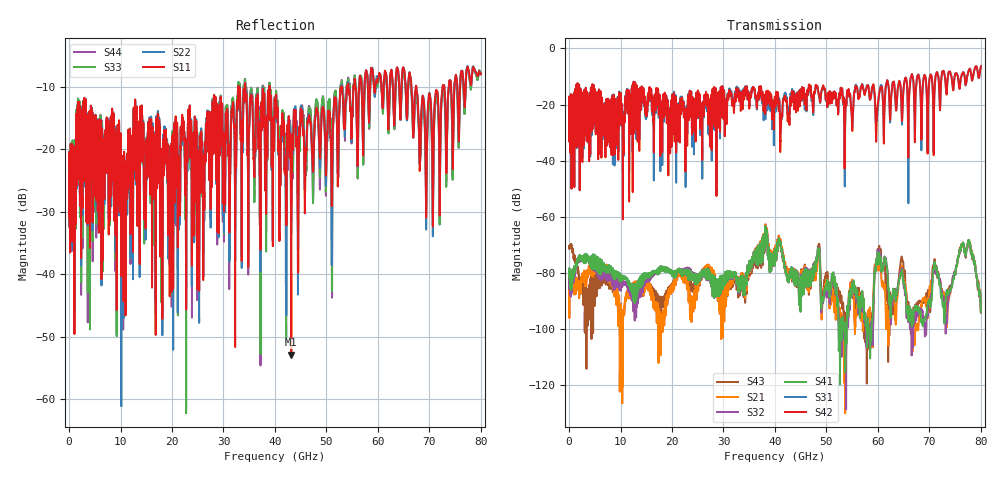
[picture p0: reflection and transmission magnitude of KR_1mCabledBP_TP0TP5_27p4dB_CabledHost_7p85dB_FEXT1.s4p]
!! Reference: shanbhag_3dj_02_2305.pdf
!! CHANNEL DESCRIPTION: TP0_TP5 KR Channel using 1meter Cabled BP, Cabled Host
!! CABLE DESCRIPTION: 1meter 26AWG Cable
!! MODEL STATUS: Developmental
!! PORT DEFINITIONS:
!! Port  1  ----->  Side A  Side B  <-----  Port  2
!! Port  3  ----->  Side A  Side B  <-----  Port  4
# HZ S MA R 50.000000
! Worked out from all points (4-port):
!   8000 points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, 10 MHz to 80 GHz, reference 50 ohm
!   strongest paths, dB at 10 MHz, 20.01 GHz, 40.01 GHz, 60.01 GHz, 80 GHz:
!     S42: -24.5, -20.9, -17.7, -19.4, -6.4
!     S31: -24.5, -20.8, -18.5, -21.6, -6.4
!     S41: -80.5, -80.8, -75.2, -73.7, -93.9
!     S32: -83.8, -80.8, -75.1, -72.9, -93.8
!     S21: -92.0, -86.7, -73.9, -75.6, -93.6
!     S43: -70.9, -86.4, -75.6, -72.4, -94.1
!   lowest |S11| = -52.9 dB at 43.17 GHz (marker M1), VSWR 1.00, Z = 49.8 + j0.0576 ohm
!   |S11| at or under -10 dB: start of sweep to 32.86 GHz; 38.96 GHz to 52.92 GHz (13.95 GHz wide, 30.4 % of centre); 67.46 GHz to 72.57 GHz (5.103 GHz wide, 7.29 % of centre) (the widest 3 of 24)
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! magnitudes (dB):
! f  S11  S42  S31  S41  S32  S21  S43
! 10 MHz  -22.7  -24.5  -24.5  -80.5  -83.8  -92.0  -70.9
! 25.9 GHz  -21.1  -27.6  -33.4  -79.4  -79.7  -79.0  -79.5
! 34.2 GHz  -9.4  -13.9  -13.6  -87.4  -87.5  -87.9  -90.0
! 38.15 GHz  -16.7  -20.1  -23.7  -63.2  -63.2  -62.6  -63.8
! 43.17 GHz  -52.9  -19.0  -18.2  -78.0  -77.9  -78.4  -78.6
! 77.59 GHz  -7.3  -8.1  -8.0  -68.3  -68.3  -68.2  -68.3
! 80 GHz  -8.0  -6.4  -6.4  -93.9  -93.8  -93.6  -94.1
